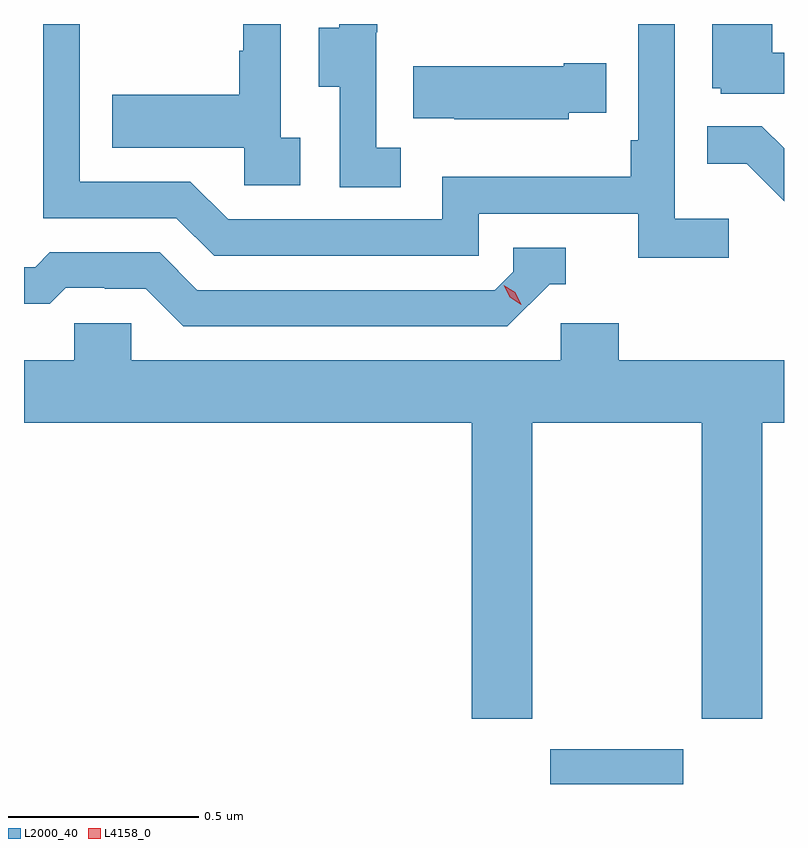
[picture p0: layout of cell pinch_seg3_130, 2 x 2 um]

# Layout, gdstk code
import gdstk
lib = gdstk.Library(unit=1e-6, precision=1e-09)
def R(c, l, rs):  # rectangles x0, y0, x1, y1
    for r in rs: c.add(gdstk.rectangle(r[:2], r[2:], *l))
def P(c, l, *ps):  # polygons
    for p in ps: c.add(gdstk.Polygon(p, *l))
L2000_40 = (2000, 40)
L4158_0 = (4158, 0)

pinch_seg3_130 = lib.new_cell('pinch_seg3_130')
R(pinch_seg3_130, L2000_40, [(1134.392,710.621,1134.742,710.713)])
P(pinch_seg3_130, L2000_40, [(1133.734,712.322),(1133.682,712.322),(1133.682,712.621),(1133.584,712.621),(1133.584,712.55),(1133.574,712.55),(1133.574,712.435),(1133.239,712.435),(1133.239,712.295),(1133.586,712.295),(1133.586,712.197),(1133.734,712.197)],
  [(1133.998,712.295),(1133.934,712.295),(1133.934,712.599),(1133.936,712.599),(1133.936,712.621),(1133.837,712.621),(1133.837,712.611),(1133.783,712.611),(1133.783,712.456),(1133.838,712.456),(1133.838,712.192),(1133.998,712.192)],
  [(1134.862,712.108),(1134.72,712.108),(1134.72,712.621),(1134.624,712.621),(1134.624,712.315),(1134.604,712.315),(1134.604,712.219),(1134.108,712.219),(1134.108,712.107),(1133.544,712.107),(1133.445,712.206),(1133.154,712.206),(1133.154,712.621),(1133.058,712.621),(1133.058,712.11),(1133.408,712.11),(1133.507,712.011),(1134.204,712.011),(1134.204,712.122),(1134.623,712.122),(1134.623,712.006),(1134.862,712.006)],
  [(1135.007,712.546),(1134.976,712.546),(1134.976,712.621),(1134.818,712.621),(1134.818,712.452),(1134.84,712.452),(1134.84,712.437),(1135.007,712.437)],
  [(1134.441,712.388),(1134.539,712.388),(1134.539,712.518),(1134.428,712.518),(1134.428,712.51),(1134.031,712.51),(1134.031,712.373),(1134.139,712.373),(1134.139,712.37),(1134.441,712.37)],
  [(1135.007,712.294),(1134.949,712.352),(1134.805,712.352),(1134.805,712.253),(1134.909,712.253),(1135.007,712.155)],
  [(1134.39,711.936),(1134.433,711.936),(1134.433,712.032),(1134.294,712.032),(1134.294,711.969),(1134.246,711.921),(1133.463,711.921),(1133.364,712.02),(1133.075,712.02),(1133.036,711.981),(1133.007,711.981),(1133.007,711.885),(1133.075,711.885),(1133.117,711.927),(1133.22,711.927),(1133.22,711.924),(1133.327,711.924),(1133.426,711.825),(1134.279,711.825)],
  [(1134.345,711.572),(1134.79,711.572),(1134.79,710.793),(1134.95,710.793),(1134.95,711.572),(1135.007,711.572),(1135.007,711.736),(1134.572,711.736),(1134.572,711.834),(1134.42,711.834),(1134.42,711.736),(1133.289,711.736),(1133.289,711.834),(1133.139,711.834),(1133.139,711.736),(1133.007,711.736),(1133.007,711.572),(1134.185,711.572),(1134.185,710.793),(1134.345,710.793)])
P(pinch_seg3_130, L4158_0, [(1134.316,711.882),(1134.285,711.902),(1134.27,711.934),(1134.27,711.934),(1134.27,711.934),(1134.3,711.915),(1134.316,711.882),(1134.316,711.882)])

lib.write_gds('pinch_seg3_130.gds')
